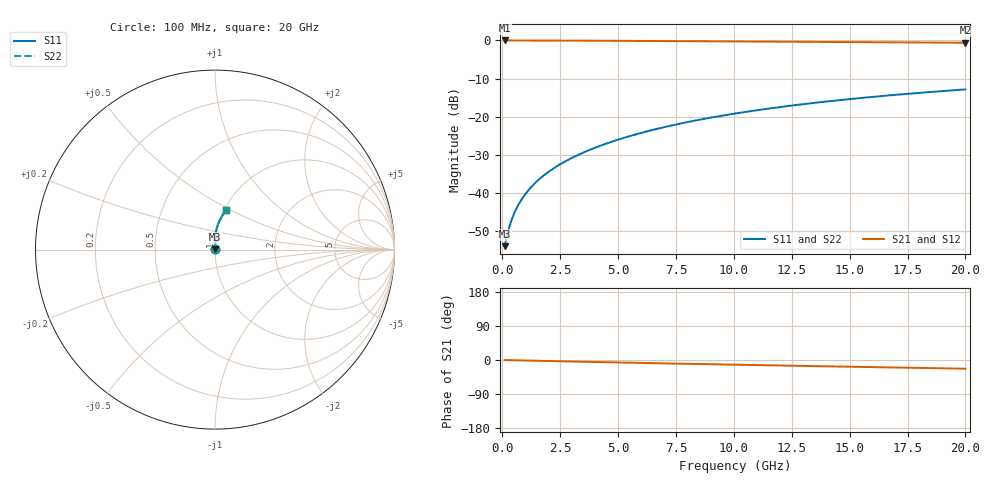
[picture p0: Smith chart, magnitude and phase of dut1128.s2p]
! Touchstone file exported from HFSS 2024.1.0
!  File:  C:/UserFiles/LocalFiles/RDL_TSV_Batchsim/temp_RDL_bottom_1128_1780055143.aedt
!  Generated:  07:48:08 PM May 29, 2026
!  Design:  RDL_bottom
!  Project:  temp_RDL_bottom_1128_1780055143
!  Setup:  Setup1
!  Solution:  Sweep
! Variables:
!  dtsv = 10.80580581um
!  hbump = 3um
!  htsv = 89.44um
!  ldown = 295.07um
!  lrdl = 100um
!  p = 40
!  p1 = 52.94um
!  rhole = 1um
!  t = 450um
!  tdown = 2.8um
!  trdl = 3.915915916um
!  wdown = 26.17um
!  wrdl = 20um
# GHz S MA R 50.000000
! Terminal data exported
! Port[1] = RDL1_T1
! Port[2] = RDL1_T2
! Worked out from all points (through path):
!   200 points, 100 MHz to 20 GHz, reference 50 ohm
!   highest |S21| = -0.02 dB at 100 MHz (marker M1); lowest = -0.6 dB at 20 GHz (marker M2)
!   group delay of S21, straight-line fit = 3.15 ps
!   lowest |S11| = -53.9 dB at 100 MHz (marker M3), VSWR 1.00, Z = 50.2 + j0.106 ohm
!   |S11| at or under -10 dB: start of sweep to end of sweep
!   |S22| runs from -53.9 to -12.8 dB; largest |S21 - S12| = 6e-15
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0.1  0.002029 31.4  0.9983 -0.1  0.9983 -0.1  0.002029 31.4
! Gamma 0 0 0 0
! Port Impedance 50 0 50 0
0.2  0.002751 49.2  0.9982 -0.3  0.9982 -0.3  0.002751 49.2
0.3  0.003595 58.6  0.9981 -0.4  0.9981 -0.4  0.003595 58.6
0.4  0.004465 64.2  0.9979 -0.6  0.9979 -0.6  0.004465 64.2
0.5  0.005339 68.0  0.9978 -0.7  0.9978 -0.7  0.005339 68.0
0.6  0.006216 70.9  0.9977 -0.8  0.9977 -0.8  0.006216 70.9
0.8  0.007983 75.0  0.9975 -1.1  0.9975 -1.1  0.007983 75.0
1.1  0.01068 79.0  0.9972 -1.5  0.9972 -1.5  0.01068 79.0
1.3  0.01251 80.9  0.9969 -1.8  0.9969 -1.8  0.01251 80.9
1.6  0.0153 82.9  0.9965 -2.2  0.9965 -2.2  0.0153 82.9
2.1  0.02005 85.3  0.9956 -2.8  0.9956 -2.8  0.02005 85.3
2.7  0.02593 87.0  0.9944 -3.6  0.9944 -3.6  0.02593 87.0
3.5  0.03407 88.5  0.9923 -4.7  0.9923 -4.7  0.03407 88.5
4.2  0.04148 89.1  0.9902 -5.6  0.9902 -5.6  0.04148 89.1
5  0.05025 89.5  0.9876 -6.6  0.9876 -6.6  0.05025 89.5
6.8  0.07098 89.0  0.9811 -8.7  0.9811 -8.7  0.07098 89.0
8.4  0.09017 87.8  0.9751 -10.6  0.9751 -10.6  0.09017 87.8
10.1  0.111 86.1  0.9687 -12.5  0.9687 -12.5  0.111 86.1
11.7  0.1306 84.2  0.9628 -14.2  0.9628 -14.2  0.1306 84.2
13.4  0.1513 82.1  0.9565 -16.1  0.9565 -16.1  0.1513 82.2
16.7  0.1906 78.0  0.9445 -19.6  0.9445 -19.6  0.1906 78.0
20  0.2284 74.0  0.9324 -23.0  0.9324 -23.0  0.2284 74.0
